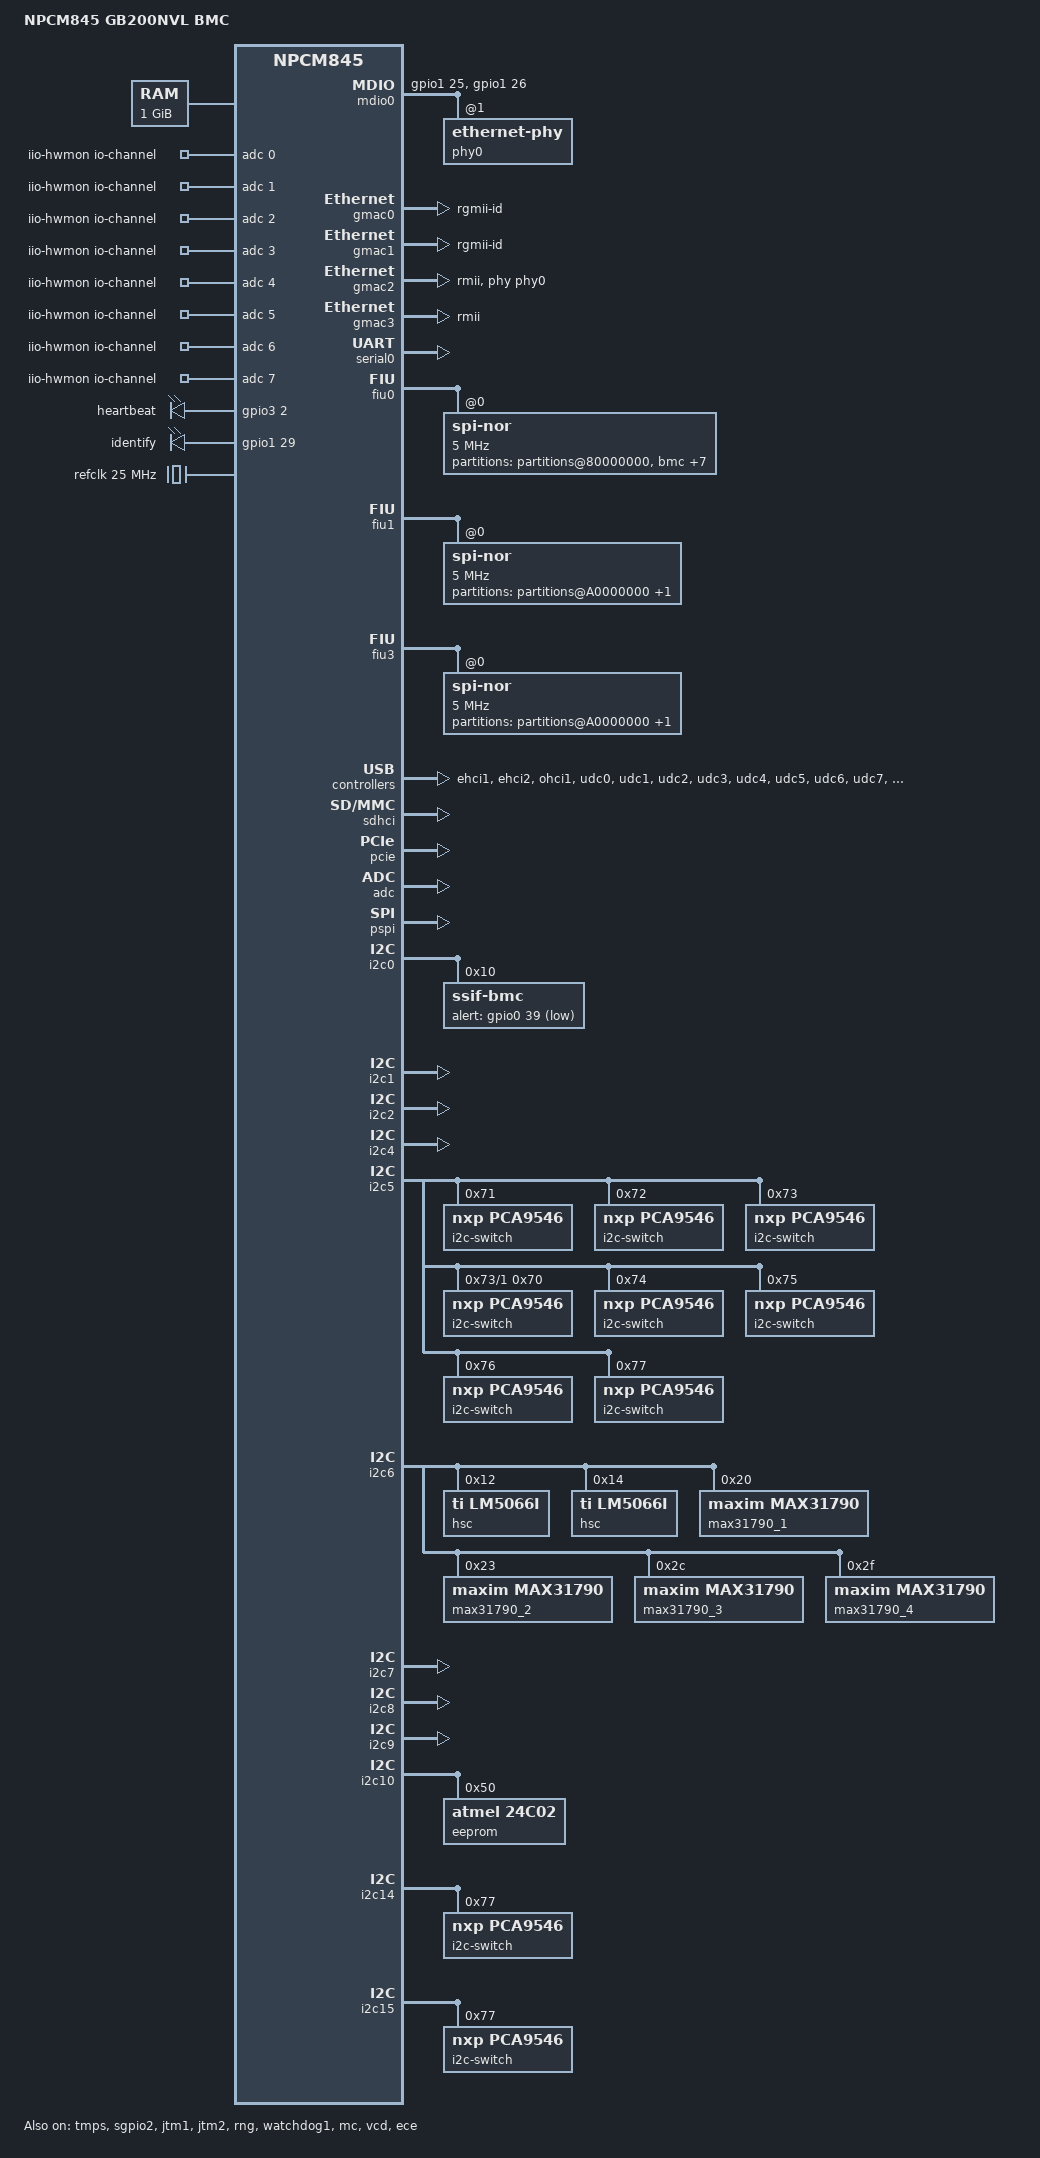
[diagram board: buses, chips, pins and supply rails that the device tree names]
// SPDX-License-Identifier: GPL-2.0
// Copyright (c) 2021 Nuvoton Technology tomer.maimon@nuvoton.com

/dts-v1/;
#include "nuvoton-npcm845.dtsi"
#include <dt-bindings/leds/common.h>

/ {
	model = "NPCM845 GB200NVL BMC";
	compatible = "nuvoton,npcm845-evb", "nuvoton,npcm845";

	aliases {
		serial0 = &serial0;
		ethernet0 = &gmac0;
		ethernet1 = &gmac1;
		ethernet2 = &gmac2;
		ethernet3 = &gmac3;
		mdio-gpio0 = &mdio0;
		udc0 = &udc0;
		udc1 = &udc1;
		udc2 = &udc2;
		udc3 = &udc3;
		udc4 = &udc4;
		udc5 = &udc5;
		udc6 = &udc6;
		udc7 = &udc7;
		fiu0 = &fiu0;
		fiu1 = &fiu3;
		fiu2 = &fiux;
		fiu3 = &fiu1;
		i2c0 = &i2c0;
		i2c1 = &i2c1;
		i2c2 = &i2c2;
		i2c3 = &i2c3;
		i2c4 = &i2c4;
		i2c5 = &i2c5;
		i2c6 = &i2c6;
		i2c7 = &i2c7;
		i2c8 = &i2c8;
		i2c9 = &i2c9;
		i2c10 = &i2c10;
		i2c14 = &i2c14;
		i2c15 = &i2c15;
	};

	chosen {
		stdout-path = &serial0;
	};

	memory {
		reg = <0x0 0x0 0x0 0x40000000>;
	};

	iio-hwmon {
		compatible = "iio-hwmon";
		io-channels = <&adc 0>, <&adc 1>, <&adc 2>, <&adc 3>,
			<&adc 4>, <&adc 5>, <&adc 6>, <&adc 7>;
	};

	leds {
		compatible = "gpio-leds";
		heartbeat {
			label = "heartbeat";
			gpios = <&gpio3 2 GPIO_ACTIVE_HIGH>; /* gpio98 */
		};
		identify {
			label = "identify";
			gpios = <&gpio1 29 GPIO_ACTIVE_HIGH>; /* gpio61 */
		};
	};

	refclk: refclk-25mhz {
		compatible = "fixed-clock";
		clock-output-names = "ref";
		clock-frequency = <25000000>;
		#clock-cells = <0>;
	};

	reserved-memory {
		#address-cells = <2>;
		#size-cells = <2>;
		ranges;

		tip_reserved: tip@0x0 {
			reg = <0x0 0x0 0x0 0x6200000>;
		};

		/*linux,cma {
			compatible = "shared-dma-pool";
			reusable;
			size = <0x0 0x8000000>;
			alloc-ranges = <0x0 0x20000000 0x0 0x8000000>;
			linux,cma-default;
		};*/
	};


	mdio0: mdio@0 {
		compatible = "virtual,mdio-gpio";
		gpios = <&gpio1 25 GPIO_ACTIVE_HIGH>,
			<&gpio1 26 GPIO_ACTIVE_HIGH>; 
		#address-cells = <1>;
		#size-cells = <0>;

		phy0: ethernet-phy@1 {
		};
	};

	tip_sram: sram@fffce000 {
		compatible = "mmio-sram";
		reg = <0 0xfffce000 0 0x1000>;
		#address-cells = <1>;
		#size-cells = <1>;
		ranges = <0 0 0xfffce000 0x1000>;
		ch0_shm: ch_shm@0 {
			reg = <0 0x1000>;
		};
	};

	tip {
		compatible = "nuvoton,cerberus";
		mboxes = <&tip_mbox 0 16>; /*channel 0, 16th doorbell */
		mbox-names = "cerberus";
		shmem = <&ch0_shm>;
		status = "okay";
	};

};

&gmac0 {
	phy-mode = "rgmii-id";
	snps,eee-force-disable;
	status = "okay";
};

&gmac1 {
	phy-mode = "rgmii-id";
	snps,eee-force-disable;
	status = "okay";
};

&gmac2 {
	phy-mode = "rmii";
	pinctrl-names = "default";
	pinctrl-0 = <&r1_pins
			&r1oen_pins>;
	phy-handle = <&phy0>;
	status = "okay";
};

&gmac3 {
	phy-mode = "rmii";
	pinctrl-names = "default";
	pinctrl-0 = <&r2_pins
			&r2oen_pins>;
	use-ncsi;
	status = "okay";
};

&tmps {
	status = "okay";
};

&sgpio2 {
	status = "okay";
	gpio-line-names =
		"","","","","","","","",
		"g_led","","","","","","","",
		"","","","","","","","",
		"","","","","","","","",
		"","","","","","","","",
		"","","","","","","","",
		"","","","","","","","",
		"","","","","","","","",
		"","","","","","","","",
		"","","","","","","","",
		"","","","","","","","",
		"","","","","","","","",
		"","","","","","","","",
		"","","","","","","","",
		"","","","","","","","",
		"","","","","","","","";
};

&serial0 {
	status = "okay";
};

&fiu0 {
	status = "okay";
	spi-nor@0 {
		compatible = "jedec,spi-nor";
		#address-cells = <1>;
		#size-cells = <1>;
		spi-rx-bus-width = <1>;
		reg = <0>;
		spi-max-frequency = <5000000>;
		partitions@80000000 {
			compatible = "fixed-partitions";
			#address-cells = <1>;
			#size-cells = <1>;
			bmc@0 {
				label = "bmc";
				reg = <0x00000000 0x04000000>;
				};
			u-boot@0 {
				label = "u-boot";
				reg = <0x00000000 0x003C0000>;
				};
			u-boot-env@3c0000 {
				label = "u-boot-env";
				reg = <0x003C0000 0x00040000>;
				};
			kernel@400000 {
				label = "kernel";
				reg = <0x00400000 0x00700000>;
				};
			rofs@b00000 {
				label = "rofs";
				reg = <0x00b00000 0x03500000>;
				};
			dummy@4000000 {
				label = "dummy";
				reg = <0x4000000 0x1000000>;
				};
			rwfs@4000000 {
				label = "rwfs";
				reg = <0x4000000 0x1000000>;
				};
			log@4000000 {
				label = "log";
				reg = <0x5000000 0x2000000>;
				};
		};
	};
};

&fiu1 {
	/*pinctrl-0 = <&spi1_pins>, <&spi1quad_pins>;*/
	status = "okay";
	spi-nor@0 {
		compatible = "jedec,spi-nor";
		#address-cells = <1>;
		#size-cells = <1>;
		spi-rx-bus-width = <2>;
		spi-tx-bus-width = <2>;
		reg = <0>;
		spi-max-frequency = <5000000>;
		partitions@A0000000 {
			compatible = "fixed-partitions";
			#address-cells = <1>;
			#size-cells = <1>;
			system1@0 {
				label = "spi1-system1";
				reg = <0x0 0x0>;
			};
		};
	};
};

&fiu3 {
	pinctrl-0 = <&spi3_pins>, <&spi3quad_pins>;
	status = "okay";
	spi-nor@0 {
		compatible = "jedec,spi-nor";
		#address-cells = <1>;
		#size-cells = <1>;
		spi-rx-bus-width = <1>;
		reg = <0>;
		spi-max-frequency = <5000000>;
		partitions@A0000000 {
			compatible = "fixed-partitions";
			#address-cells = <1>;
			#size-cells = <1>;
			system1@0 {
				label = "spi3-system1";
				reg = <0x0 0x0>;
			};
		};
	};
};

&fiux {
	spix-mode;
};

&ehci1 {
	status = "okay";
};

&ehci2 {
	status = "okay";
};

&ohci1 {
        status = "okay";
};

&sdhci {
	status = "okay";
};

&pcie {
	/* used for e1000e PCI -> AXI window opening */
	dma-ranges = <0x02000000 0 0x00000000 0x0 0x00000000 0 0x40000000>;
	npcm-pci-ep-rst = <&gpio3 24 1>;
	status = "okay";
};

&pcimbox {
	status = "okay";
};

&udc0 {
	status = "okay";
};

&udc1 {
	status = "okay";
};

&udc2 {
	status = "okay";
};

&udc3 {
	status = "okay";
};

&udc4 {
	status = "okay";
};

&udc5 {
	status = "okay";
};

&udc6 {
	status = "okay";
};

&udc7 {
	status = "okay";
};

&udc8 {
	status = "okay";
};

&gcr {
	udc9_mux: mux-controller {
		compatible = "mmio-mux";
		#mux-control-cells = <1>;
		mux-reg-masks = <0x9C 0x3000>;
		idle-states = <0x3000>;
	};
};


&jtm1 {
	status = "okay";
};

&jtm2 {
	status = "okay";
};


&rng {
	status = "okay";
};

&adc {
	#io-channel-cells = <1>;
	status = "okay";
};

&watchdog1 {
	status = "okay";
};


&pspi {
	cs-gpios = <&gpio0 20 GPIO_ACTIVE_LOW>;
	status = "okay";
};

&i2c0 {
	status = "okay";
    ssif-bmc@10 {
        compatible = "ssif-bmc";
        alert-gpio = <&gpio0 39 GPIO_ACTIVE_LOW>;
        pulse_width_us = <5>;
        timeout_ms = <4995>;
        reg = <0x10>;
    };
};

&i2c1 {
	status = "okay";
};

&i2c2 {
	status = "okay";
};


&i2c4 {
	status = "okay";
};

&i2c5 {
	status = "okay";
    i2c-switch@71 {
        compatible = "nxp,pca9546";
        #address-cells = <1>;
        #size-cells = <0>;
        reg = <0x71>;
        i2c-mux-idle-disconnect;

        imux16: i2c@0 {
            #address-cells = <1>;
            #size-cells = <0>;
            reg = <0>;
        };

        imux17: i2c@1 {
            #address-cells = <1>;
            #size-cells = <0>;
            reg = <1>;
        };

        imux18: i2c@2 {
            #address-cells = <1>;
            #size-cells = <0>;
            reg = <2>;
        };

        imux19: i2c@3 {
            #address-cells = <1>;
            #size-cells = <0>;
            reg = <3>;
        };
    };

    i2c-switch@72 {
        compatible = "nxp,pca9546";
        #address-cells = <1>;
        #size-cells = <0>;
        reg = <0x72>;
        i2c-mux-idle-disconnect;

        imux20: i2c@0 {
            #address-cells = <1>;
            #size-cells = <0>;
            reg = <0>;
        };

        imux21: i2c@1 {
            #address-cells = <1>;
            #size-cells = <0>;
            reg = <1>;
        };

        imux22: i2c@2 {
            #address-cells = <1>;
            #size-cells = <0>;
            reg = <2>;
        };

        imux23: i2c@3 {
            #address-cells = <1>;
            #size-cells = <0>;
            reg = <3>;
        };
    };

    i2c-switch@73 {
        compatible = "nxp,pca9546";
        #address-cells = <1>;
        #size-cells = <0>;
        reg = <0x73>;
        i2c-mux-idle-disconnect;

        imux24: i2c@0 {
            #address-cells = <1>;
            #size-cells = <0>;
            reg = <0>;
        };

        imux25: i2c@1 {
            #address-cells = <1>;
            #size-cells = <0>;
            reg = <1>;

            i2c-switch@70 {
                compatible = "nxp,pca9546";
                #address-cells = <1>;
                #size-cells = <0>;
                reg = <0x70>;
                i2c-mux-idle-disconnect;

                i2c25mux0: i2c@0 {
                    #address-cells = <1>;
                    #size-cells = <0>;
                    reg = <0>;
                };

                i2c25mux1: i2c@1 {
                    #address-cells = <1>;
                    #size-cells = <0>;
                    reg = <1>;
                };

                i2c25mux2: i2c@2 {
                    #address-cells = <1>;
                    #size-cells = <0>;
                    reg = <2>;
                };

                i2c25mux3: i2c@3 {
                    #address-cells = <1>;
                    #size-cells = <0>;
                    reg = <3>;
                };
            };
        };

        imux26: i2c@2 {
            #address-cells = <1>;
            #size-cells = <0>;
            reg = <2>;
        };

        imux27: i2c@3 {
            #address-cells = <1>;
            #size-cells = <0>;
            reg = <3>;
        };
    };

    //A MUX for a riser with a secondary M.2 installed.
    i2c-switch@74 {
        compatible = "nxp,pca9546";
        #address-cells = <1>;
        #size-cells = <0>;
        reg = <0x74>;
        i2c-mux-idle-disconnect;

        i2c5mux0: i2c@0 {
            #address-cells = <1>;
            #size-cells = <0>;
            reg = <0>;
        };

        //Optional/secondary M.2 drive slot
        m2riser: i2c@1 {
            #address-cells = <1>;
            #size-cells = <0>;
            reg = <1>;
        };

        i2c5mux2: i2c@2 {
            #address-cells = <1>;
            #size-cells = <0>;
            reg = <2>;
        };

        i2c5mux3: i2c@3 {
            #address-cells = <1>;
            #size-cells = <0>;
            reg = <3>;
        };
    };

    i2c-switch@75 {
        compatible = "nxp,pca9546";
        #address-cells = <1>;
        #size-cells = <0>;
        reg = <0x75>;
        i2c-mux-idle-disconnect;

        imux28: i2c@0 {
            #address-cells = <1>;
            #size-cells = <0>;
            reg = <0>;
        };

        imux29: i2c@1 {
            #address-cells = <1>;
            #size-cells = <0>;
            reg = <1>;
        };

        imux30: i2c@2 {
            #address-cells = <1>;
            #size-cells = <0>;
            reg = <2>;
        };

        imux31: i2c@3 {
            #address-cells = <1>;
            #size-cells = <0>;
            reg = <3>;
        };
    };

    i2c-switch@76 {
        compatible = "nxp,pca9546";
        #address-cells = <1>;
        #size-cells = <0>;
        reg = <0x76>;
        i2c-mux-idle-disconnect;

        imux32: i2c@0 {
            #address-cells = <1>;
            #size-cells = <0>;
            reg = <0>;
        };

        imux33: i2c@1 {
            #address-cells = <1>;
            #size-cells = <0>;
            reg = <1>;
        };

        imux34: i2c@2 {
            #address-cells = <1>;
            #size-cells = <0>;
            reg = <2>;
        };

        imux35: i2c@3 {
            #address-cells = <1>;
            #size-cells = <0>;
            reg = <3>;
        };
    };

    i2c-switch@77 {
        compatible = "nxp,pca9546";
        #address-cells = <1>;
        #size-cells = <0>;
        reg = <0x77>;
        i2c-mux-idle-disconnect;

        imux36: i2c@0 {
            #address-cells = <1>;
            #size-cells = <0>;
            reg = <0>;
        };

        imux37: i2c@1 {
            #address-cells = <1>;
            #size-cells = <0>;
            reg = <1>;
        };

        imux38: i2c@2 {
            #address-cells = <1>;
            #size-cells = <0>;
            reg = <2>;
        };

        imux39: i2c@3 {
            #address-cells = <1>;
            #size-cells = <0>;
            reg = <3>;
        };
    };
};

&i2c6 {
	status = "okay";
    hsc@12 {
        compatible = "ti,lm5066i";
        reg = <0x12>;
        shunt-resistor-micro-ohms = <190>;
        status = "okay";
    };
    hsc@14 {
        compatible = "ti,lm5066i";
        reg = <0x14>;
        shunt-resistor-micro-ohms = <190>;
        status = "okay";
    };
    max31790_1 {
        compatible = "maxim,max31790";
        reg = <0x20>;
        #address-cells = <1>;
        #size-cells = <0>;
    };
    max31790_2 {
        compatible = "maxim,max31790";
        reg = <0x23>;
        #address-cells = <1>;
        #size-cells = <0>;
    };
    max31790_3 {
        compatible = "maxim,max31790";
        reg = <0x2c>;
        #address-cells = <1>;
        #size-cells = <0>;
    };
    max31790_4 {
        compatible = "maxim,max31790";
        reg = <0x2f>;
        #address-cells = <1>;
        #size-cells = <0>;
    };
};

&i2c7 {
	status = "okay";
};

&i2c8 {
	status = "okay";
};

&i2c9 {
	status = "okay";
};

&i2c10 {
	status = "okay";
    eeprom@50 {
        compatible = "atmel,24c02";
        reg = <0x50>;
        pagesize = <8>;
    };
};

&i2c14 {
	status = "okay";
  	//E1.S drive slot 0-3
	i2c-switch@77 {
        compatible = "nxp,pca9546";
        #address-cells = <1>;
        #size-cells = <0>;
        reg = <0x77>;
        i2c-mux-idle-disconnect;

        e1si2c0: i2c@0 {
            #address-cells = <1>;
            #size-cells = <0>;
            reg = <0>;
        };

        e1si2c1: i2c@1 {
            #address-cells = <1>;
            #size-cells = <0>;
            reg = <1>;
        };

        e1si2c2: i2c@2 {
            #address-cells = <1>;
            #size-cells = <0>;
            reg = <2>;
        };

        e1si2c3: i2c@3 {
            #address-cells = <1>;
            #size-cells = <0>;
            reg = <3>;
        };
    };
};

&i2c15 {
	status = "okay";
   //E1.S drive slot 4-7
	i2c-switch@77 {
        compatible = "nxp,pca9546";
        #address-cells = <1>;
        #size-cells = <0>;
        reg = <0x77>;
        i2c-mux-idle-disconnect;

        e1si2c4: i2c@0 {
            #address-cells = <1>;
            #size-cells = <0>;
            reg = <0>;
        };

        e1si2c5: i2c@1 {
            #address-cells = <1>;
            #size-cells = <0>;
            reg = <1>;
        };

        e1si2c6: i2c@2 {
            #address-cells = <1>;
            #size-cells = <0>;
            reg = <2>;
        };

        e1si2c7: i2c@3 {
            #address-cells = <1>;
            #size-cells = <0>;
            reg = <3>;
        };
    };
};


&mc {
	status = "okay";
};

&pinctrl {
	pinctrl-names = "default";
};

&vcd {
	status = "okay";
};

&ece {
	status = "okay";
};

&tip_mbox {
	status = "okay";
};
